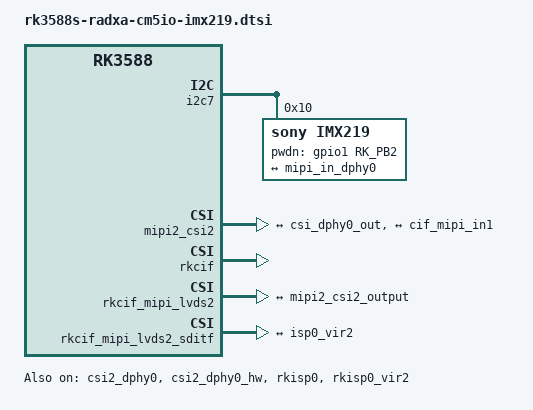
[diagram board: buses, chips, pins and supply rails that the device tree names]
// SPDX-License-Identifier: (GPL-2.0+ OR MIT)
/*
 * Copyright (c) 2021 Rockchip Electronics Co., Ltd.
 *
 */

/ {
	compatible = "radxa,rock-cm5", "rockchip,rk3588";
};

&csi2_dphy0 {
	status = "okay";

	ports {
		#address-cells = <1>;
		#size-cells = <0>;
		port@0 {
			reg = <0>;
			#address-cells = <1>;
			#size-cells = <0>;

			mipi_in_dphy0: endpoint@2 {
				reg = <1>;
				remote-endpoint = <&imx219_out0>;
				data-lanes = <1 2>;
			};
		};

		port@1 {
			reg = <1>;
			#address-cells = <1>;
			#size-cells = <0>;

			csi_dphy0_out: endpoint@0 {
				reg = <0>;
				remote-endpoint = <&mipi2_csi2_input>;
			};
		};
	};
};

&i2c7 {
	status = "okay";
	pinctrl-names = "default";
	pinctrl-0 = <&i2c7m2_xfer>;

	imx219: imx219@10 {
		compatible = "sony,imx219";
		reg = <0x10>;

		clocks = <&cru CLK_MIPI_CAMARAOUT_M1>;
		clock-names = "xvclk";
		pwdn-gpios = <&gpio1 RK_PB2 GPIO_ACTIVE_HIGH>;
		
		rockchip,camera-module-index = <0>;
		rockchip,camera-module-facing = "back";
		rockchip,camera-module-name = "rpi-camera-v2";
		rockchip,camera-module-lens-name = "default";

		port {
			imx219_out0: endpoint {
				remote-endpoint = <&mipi_in_dphy0>;
				data-lanes = <1 2>;
			};
		};
	};
};

&csi2_dphy0_hw {
	status = "okay";
};

&mipi2_csi2 {
	status = "okay";

	ports {
		#address-cells = <1>;
		#size-cells = <0>;

		port@0 {
			reg = <0>;
			#address-cells = <1>;
			#size-cells = <0>;

			mipi2_csi2_input: endpoint@1 {
				reg = <1>;
				remote-endpoint = <&csi_dphy0_out>;
			};
		};

		port@1 {
			reg = <1>;
			#address-cells = <1>;
			#size-cells = <0>;

			mipi2_csi2_output: endpoint@0 {
				reg = <0>;
				remote-endpoint = <&cif_mipi_in1>;
			};
		};
	};
};

&rkcif {
	status = "okay";
};

&rkcif_mipi_lvds2 {
	status = "okay";

	port {
		cif_mipi_in1: endpoint {
			remote-endpoint = <&mipi2_csi2_output>;
		};
	};
};

&rkcif_mipi_lvds2_sditf {
	status = "okay";

	port {
		mipi_lvds2_sditf: endpoint {
			remote-endpoint = <&isp0_vir2>;
		};
	};
};

&rkcif_mmu {
	status = "okay";
};

&rkisp0 {
	status = "okay";
};

&isp0_mmu {
	status = "okay";
};

&rkisp0_vir2 {
	status = "okay";
	port {
		#address-cells = <1>;
		#size-cells = <0>;

		isp0_vir2: endpoint@1 {
			reg = <1>;
			remote-endpoint = <&mipi_lvds2_sditf>;
		};
	};
};
